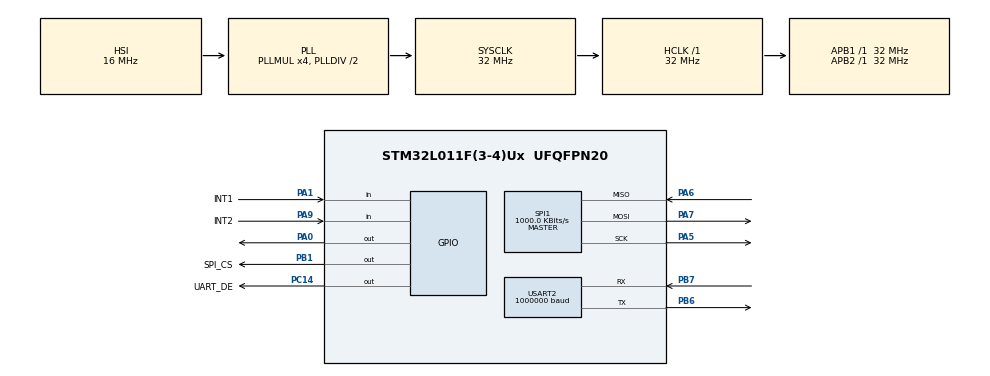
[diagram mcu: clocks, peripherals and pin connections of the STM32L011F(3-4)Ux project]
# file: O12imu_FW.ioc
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Dma.Request0=USART2_TX
Dma.USART2_TX.0.Direction=DMA_MEMORY_TO_PERIPH
Dma.USART2_TX.0.Instance=DMA1_Channel2
Dma.USART2_TX.0.MemDataAlignment=DMA_MDATAALIGN_BYTE
Dma.USART2_TX.0.MemInc=DMA_MINC_ENABLE
Dma.USART2_TX.0.Mode=DMA_NORMAL
Dma.USART2_TX.0.PeriphDataAlignment=DMA_PDATAALIGN_BYTE
Dma.USART2_TX.0.PeriphInc=DMA_PINC_DISABLE
Dma.USART2_TX.0.Priority=DMA_PRIORITY_LOW
Mcu.Family=STM32L0
Mcu.Name=STM32L011F(3-4)Ux
Mcu.Package=UFQFPN20
NVIC.DMA1_Channel2_3_IRQn=true\:0\:0\:false\:false\:true\:false\:true\:true
NVIC.SPI1_IRQn=true\:0\:0\:false\:false\:true\:true\:true\:true
NVIC.USART2_IRQn=true\:0\:0\:false\:false\:true\:true\:true\:true
PA0-CK_IN.Signal=GPIO_Output
PA1.GPIO_Label=INT1
PA1.Signal=GPIO_Input
PA13.Mode=Serial_Wire
PA13.Signal=SYS_SWDIO
PA14.Mode=Serial_Wire
PA14.Signal=SYS_SWCLK
PA5.Mode=Full_Duplex_Master
PA5.Signal=SPI1_SCK
PA6.Mode=Full_Duplex_Master
PA6.Signal=SPI1_MISO
PA7.Mode=Full_Duplex_Master
PA7.Signal=SPI1_MOSI
PA9.GPIO_Label=INT2
PA9.Signal=GPIO_Input
PB1.GPIO_Label=SPI_CS
PB1.Signal=GPIO_Output
PB6.GPIO_PuPd=GPIO_PULLUP
PB6.Mode=Asynchronous
PB6.Signal=USART2_TX
PB7.GPIO_PuPd=GPIO_PULLUP
PB7.Mode=Asynchronous
PB7.Signal=USART2_RX
PC14-OSC32_IN.GPIO_Label=UART_DE
PC14-OSC32_IN.Signal=GPIO_Output
ProjectManager.HeapSize=0x000
ProjectManager.StackSize=0x400
ProjectManager.TargetToolchain=STM32CubeIDE
RCC.ADCFreq_Value=16000000
RCC.AHBFreq_Value=32000000
RCC.APB1Freq_Value=32000000
RCC.APB1TimFreq_Value=32000000
RCC.APB2Freq_Value=32000000
RCC.APB2TimFreq_Value=32000000
RCC.HCLKFreq_Value=32000000
RCC.HSE_VALUE=8000000
RCC.HSI16_VALUE=16000000
RCC.HSI_VALUE=16000000
RCC.LSE_VALUE=32768
RCC.MSI_VALUE=2097000
RCC.PLLMUL=RCC_PLLMUL_4
RCC.SYSCLKFreq_VALUE=32000000
RCC.SYSCLKSource=RCC_SYSCLKSOURCE_PLLCLK
RCC.Usart2ClockSelection=RCC_USART2CLKSOURCE_SYSCLK
RCC.VCOOutputFreq_Value=64000000
SPI1.BaudRatePrescaler=SPI_BAUDRATEPRESCALER_32
SPI1.CLKPhase=SPI_PHASE_2EDGE
SPI1.CLKPolarity=SPI_POLARITY_HIGH
SPI1.CalculateBaudRate=1000.0 KBits/s
SPI1.Direction=SPI_DIRECTION_2LINES
SPI1.Mode=SPI_MODE_MASTER
SPI1.VirtualType=VM_MASTER
USART2.BaudRate=1000000
USART2.VirtualMode-Asynchronous=VM_ASYNC
board=custom

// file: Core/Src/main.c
/* USER CODE BEGIN Header */
/**
 ******************************************************************************
 * @file           : main.c
 * @brief          : Main program body
 ******************************************************************************
 * @attention
 *
 * Copyright (c) 2024 STMicroelectronics.
 * All rights reserved.
 *
 * This software is licensed under terms that can be found in the LICENSE file
 * in the root directory of this software component.
 * If no LICENSE file comes with this software, it is provided AS-IS.
 *
 ******************************************************************************
 */
/* USER CODE END Header */
#include "main.h"

/* USER CODE BEGIN Includes */

#include "lsm6dsv_reg.h"

#include <string.h>
#include "utils.h"
#include "comdef.h"

/* USER CODE END Includes */

/* USER CODE BEGIN PD */

#define UART_ADDR 0x6
#define UART_TX_SIZE 12
#define UART_RX_SIZE 3

// #define SENSOR_BUS hi2c1
#define SENSOR_BUS hspi1

#define BOOT_TIME 10
#define FIFO_WATERMARK 32

/* USER CODE END PD */

SPI_HandleTypeDef hspi1;

UART_HandleTypeDef huart2;
DMA_HandleTypeDef hdma_usart2_tx;

/* USER CODE BEGIN PV */

static int16_t data_raw_acceleration[3];
static int16_t data_raw_angular_rate[3];
static int16_t data_raw_temperature;
static lsm6dsv_filt_settling_mask_t filt_settling_mask;

static uint8_t whoamI;
// static uint8_t tx_buffer[1000];
static lsm6dsv_fifo_sflp_raw_t fifo_sflp;

static HAL_StatusTypeDef spi_status;

static uint16_t uart_cmd[3] = {0};
static uint8_t uart_TX[UART_TX_SIZE] = {0};
static uint8_t uart_RX[UART_RX_SIZE] = {0};
static uint8_t uart_received_flag = 0;

/* USER CODE END PV */

void SystemClock_Config(void);
static void MX_GPIO_Init(void);
static void MX_DMA_Init(void);
static void MX_USART2_UART_Init(void);
static void MX_SPI1_Init(void);
/* USER CODE BEGIN PFP */

static int32_t platform_write(void *handle, uint8_t reg, const uint8_t *bufp, uint16_t len);
static int32_t platform_read(void *handle, uint8_t reg, uint8_t *bufp, uint16_t len);
static int32_t platform_read(void *handle, uint8_t reg, uint8_t *bufp, uint16_t len);
static void tx_com(uint8_t *tx_buffer, uint16_t len);
static void platform_delay(uint32_t ms);
static void platform_init(void);

/* USER CODE END PFP */

int main(void) {

    /* MCU Configuration--------------------------------------------------------*/

    /* Reset of all peripherals, Initializes the Flash interface and the Systick. */
    HAL_Init();

    /* Configure the system clock */
    SystemClock_Config();

    /* Initialize all configured peripherals */
    MX_GPIO_Init();
    MX_DMA_Init();
    MX_USART2_UART_Init();
    MX_SPI1_Init();
    /* USER CODE BEGIN 2 */

    HAL_GPIO_WritePin(UART_DE_GPIO_Port, UART_DE_Pin, 0);
    HAL_GPIO_WritePin(SPI_CS_GPIO_Port, SPI_CS_Pin, 1); // CS high also means IMU deselected from SPI and I2c activated

    HAL_MultiProcessor_Init(&huart2, UART_ADDR, UART_WAKEUPMETHOD_ADDRESSMARK);
    HAL_MultiProcessorEx_AddressLength_Set(&huart2, UART_ADDRESS_DETECT_4B);

    HAL_MultiProcessor_EnableMuteMode(&huart2);
    HAL_MultiProcessor_EnterMuteMode(&huart2);

    HAL_UARTEx_ReceiveToIdle_IT(&huart2, uart_RX, UART_RX_SIZE);

    lsm6dsv_all_sources_t all_sources;
    lsm6dsv_reset_t rst;
    stmdev_ctx_t dev_ctx;
    /* Initialize mems driver interface */
    dev_ctx.write_reg = platform_write;
    dev_ctx.read_reg = platform_read;
    dev_ctx.mdelay = platform_delay;
    dev_ctx.handle = &SENSOR_BUS;
    /* Init test platform */
    platform_init();
    /* Wait sensor boot time */
    platform_delay(BOOT_TIME);
    /* Check device ID */

    lsm6dsv_device_id_get(&dev_ctx, &whoamI);
    while (whoamI != LSM6DSV_ID) {
        lsm6dsv_device_id_get(&dev_ctx, &whoamI);
        HAL_Delay(10);
    }

    /* Restore default configuration */
    lsm6dsv_reset_set(&dev_ctx, LSM6DSV_RESTORE_CTRL_REGS);
    do {
        lsm6dsv_reset_get(&dev_ctx, &rst);
    } while (rst != LSM6DSV_READY);

    /* Enable Block Data Update */
    lsm6dsv_block_data_update_set(&dev_ctx, PROPERTY_ENABLE);
    /* Set Output Data Rate.
     * Selected data rate have to be equal or greater with respect
     * with MLC data rate.
     */
//    lsm6dsv_xl_data_rate_set(&dev_ctx, LSM6DSV_ODR_AT_7Hz5);
    lsm6dsv_xl_data_rate_set(&dev_ctx, LSM6DSV_ODR_AT_120Hz);
//    lsm6dsv_gy_data_rate_set(&dev_ctx, LSM6DSV_ODR_AT_15Hz);
    lsm6dsv_gy_data_rate_set(&dev_ctx, LSM6DSV_ODR_AT_120Hz);
    /* Set full scale */
    lsm6dsv_xl_full_scale_set(&dev_ctx, LSM6DSV_2g);
    lsm6dsv_gy_full_scale_set(&dev_ctx, LSM6DSV_2000dps);
    /* Configure filtering chain */
    filt_settling_mask.drdy = PROPERTY_ENABLE;
    filt_settling_mask.irq_xl = PROPERTY_ENABLE;
    filt_settling_mask.irq_g = PROPERTY_ENABLE;
    lsm6dsv_filt_settling_mask_set(&dev_ctx, filt_settling_mask);
    lsm6dsv_filt_gy_lp1_set(&dev_ctx, PROPERTY_ENABLE);
    lsm6dsv_filt_gy_lp1_bandwidth_set(&dev_ctx, LSM6DSV_GY_STRONG);
//    lsm6dsv_filt_gy_lp1_bandwidth_set(&dev_ctx, LSM6DSV_GY_ULTRA_LIGHT);
    lsm6dsv_filt_xl_lp2_set(&dev_ctx, PROPERTY_ENABLE);
    lsm6dsv_filt_xl_lp2_bandwidth_set(&dev_ctx, LSM6DSV_XL_STRONG);

    /* USER CODE END 2 */

    /* Infinite loop */
    while (1) {

        /* USER CODE BEGIN 3 */
        /* Read output only if new xl value is available */
        lsm6dsv_all_sources_get(&dev_ctx, &all_sources);

        if (all_sources.drdy_xl) {
            /* Read acceleration field data */
            memset(data_raw_acceleration, 0x00, 3 * sizeof(int16_t));
            lsm6dsv_acceleration_raw_get(&dev_ctx, data_raw_acceleration);
            // HAL_GPIO_WritePin(GPIOA, GPIO_PIN_0, data_raw_acceleration[0]);
        }

        if (all_sources.drdy_gy) {
            /* Read angular rate field data */
            memset(data_raw_angular_rate, 0x00, 3 * sizeof(int16_t));
            lsm6dsv_angular_rate_raw_get(&dev_ctx, data_raw_angular_rate);
            // HAL_GPIO_WritePin(GPIOA, GPIO_PIN_0, data_raw_angular_rate[0]);
        }

        uart_TX[0] = (uint8_t)(data_raw_acceleration[0] >> (7)) & 0b01111111;
		 uart_TX[1] = (uint8_t)(data_raw_acceleration[0] >> (0)) & 0b01111111;
		 uart_TX[2] = (uint8_t)(data_raw_acceleration[1] >> (7)) & 0b01111111;
		 uart_TX[3] = (uint8_t)(data_raw_acceleration[1] >> (0)) & 0b01111111;
		 uart_TX[4] = (uint8_t)(data_raw_acceleration[2] >> (7)) & 0b01111111;
		 uart_TX[5] = (uint8_t)(data_raw_acceleration[2] >> (0)) & 0b01111111;
		 uart_TX[6] = (uint8_t)(data_raw_angular_rate[0] >> (7)) & 0b01111111;
		 uart_TX[7] = (uint8_t)(data_raw_angular_rate[0] >> (0)) & 0b01111111;
		 uart_TX[8] = (uint8_t)(data_raw_angular_rate[1] >> (7)) & 0b01111111;
		 uart_TX[9] = (uint8_t)(data_raw_angular_rate[1] >> (0)) & 0b01111111;
		 uart_TX[10] = (uint8_t)(data_raw_angular_rate[2] >> (7)) & 0b01111111;
		 uart_TX[11] = (uint8_t)(data_raw_angular_rate[2] >> (0)) & 0b01111111;

    }
    /* USER CODE END 3 */
}

void SystemClock_Config(void) {
    RCC_OscInitTypeDef RCC_OscInitStruct = {0};
    RCC_ClkInitTypeDef RCC_ClkInitStruct = {0};
    RCC_PeriphCLKInitTypeDef PeriphClkInit = {0};

    /** Configure the main internal regulator output voltage
     */
    __HAL_PWR_VOLTAGESCALING_CONFIG(PWR_REGULATOR_VOLTAGE_SCALE1);

    /** Initializes the RCC Oscillators according to the specified parameters
     * in the RCC_OscInitTypeDef structure.
     */
    RCC_OscInitStruct.OscillatorType = RCC_OSCILLATORTYPE_HSI;
    RCC_OscInitStruct.HSIState = RCC_HSI_ON;
    RCC_OscInitStruct.HSICalibrationValue = RCC_HSICALIBRATION_DEFAULT;
    RCC_OscInitStruct.PLL.PLLState = RCC_PLL_ON;
    RCC_OscInitStruct.PLL.PLLSource = RCC_PLLSOURCE_HSI;
    RCC_OscInitStruct.PLL.PLLMUL = RCC_PLLMUL_4;
    RCC_OscInitStruct.PLL.PLLDIV = RCC_PLLDIV_2;
    if (HAL_RCC_OscConfig(&RCC_OscInitStruct) != HAL_OK) {
        Error_Handler();
    }

    /** Initializes the CPU, AHB and APB buses clocks
     */
    RCC_ClkInitStruct.ClockType = RCC_CLOCKTYPE_HCLK | RCC_CLOCKTYPE_SYSCLK | RCC_CLOCKTYPE_PCLK1 | RCC_CLOCKTYPE_PCLK2;
    RCC_ClkInitStruct.SYSCLKSource = RCC_SYSCLKSOURCE_PLLCLK;
    RCC_ClkInitStruct.AHBCLKDivider = RCC_SYSCLK_DIV1;
    RCC_ClkInitStruct.APB1CLKDivider = RCC_HCLK_DIV1;
    RCC_ClkInitStruct.APB2CLKDivider = RCC_HCLK_DIV1;

    if (HAL_RCC_ClockConfig(&RCC_ClkInitStruct, FLASH_LATENCY_1) != HAL_OK) {
        Error_Handler();
    }
    PeriphClkInit.PeriphClockSelection = RCC_PERIPHCLK_USART2;
    PeriphClkInit.Usart2ClockSelection = RCC_USART2CLKSOURCE_SYSCLK;
    if (HAL_RCCEx_PeriphCLKConfig(&PeriphClkInit) != HAL_OK) {
        Error_Handler();
    }
}

static void MX_SPI1_Init(void) {

    /* SPI1 parameter configuration*/
    hspi1.Instance = SPI1;
    hspi1.Init.Mode = SPI_MODE_MASTER;
    hspi1.Init.Direction = SPI_DIRECTION_2LINES;
    hspi1.Init.DataSize = SPI_DATASIZE_8BIT;
    hspi1.Init.CLKPolarity = SPI_POLARITY_HIGH;
    hspi1.Init.CLKPhase = SPI_PHASE_2EDGE;
    hspi1.Init.NSS = SPI_NSS_SOFT;
    hspi1.Init.BaudRatePrescaler = SPI_BAUDRATEPRESCALER_8;
    hspi1.Init.FirstBit = SPI_FIRSTBIT_MSB;
    hspi1.Init.TIMode = SPI_TIMODE_DISABLE;
    hspi1.Init.CRCCalculation = SPI_CRCCALCULATION_DISABLE;
    hspi1.Init.CRCPolynomial = 7;
    if (HAL_SPI_Init(&hspi1) != HAL_OK) {
        Error_Handler();
    }
}

static void MX_USART2_UART_Init(void) {

    huart2.Instance = USART2;
    huart2.Init.BaudRate = 1000000;
    huart2.Init.WordLength = UART_WORDLENGTH_8B;
    huart2.Init.StopBits = UART_STOPBITS_1;
    huart2.Init.Parity = UART_PARITY_NONE;
    huart2.Init.Mode = UART_MODE_TX_RX;
    huart2.Init.HwFlowCtl = UART_HWCONTROL_NONE;
    huart2.Init.OverSampling = UART_OVERSAMPLING_16;
    huart2.Init.OneBitSampling = UART_ONE_BIT_SAMPLE_DISABLE;
    huart2.AdvancedInit.AdvFeatureInit = UART_ADVFEATURE_NO_INIT;
    if (HAL_UART_Init(&huart2) != HAL_OK) {
        Error_Handler();
    }
}

static void MX_DMA_Init(void) {

    /* DMA controller clock enable */
    __HAL_RCC_DMA1_CLK_ENABLE();

    /* DMA interrupt init */
    /* DMA1_Channel2_3_IRQn interrupt configuration */
    HAL_NVIC_SetPriority(DMA1_Channel2_3_IRQn, 0, 0);
    HAL_NVIC_EnableIRQ(DMA1_Channel2_3_IRQn);
}

static void MX_GPIO_Init(void) {
    GPIO_InitTypeDef GPIO_InitStruct = {0};

    /* GPIO Ports Clock Enable */
    __HAL_RCC_GPIOC_CLK_ENABLE();
    __HAL_RCC_GPIOA_CLK_ENABLE();
    __HAL_RCC_GPIOB_CLK_ENABLE();

    /*Configure GPIO pin Output Level */
    HAL_GPIO_WritePin(UART_DE_GPIO_Port, UART_DE_Pin, GPIO_PIN_RESET);

    /*Configure GPIO pin Output Level */
    HAL_GPIO_WritePin(GPIOA, GPIO_PIN_0, GPIO_PIN_RESET);

    /*Configure GPIO pin Output Level */
    HAL_GPIO_WritePin(SPI_CS_GPIO_Port, SPI_CS_Pin, GPIO_PIN_RESET);

    /*Configure GPIO pin : UART_DE_Pin */
    GPIO_InitStruct.Pin = UART_DE_Pin;
    GPIO_InitStruct.Mode = GPIO_MODE_OUTPUT_PP;
    GPIO_InitStruct.Pull = GPIO_NOPULL;
    GPIO_InitStruct.Speed = GPIO_SPEED_FREQ_LOW;
    HAL_GPIO_Init(UART_DE_GPIO_Port, &GPIO_InitStruct);

    /*Configure GPIO pin : PA0 */
    GPIO_InitStruct.Pin = GPIO_PIN_0;
    GPIO_InitStruct.Mode = GPIO_MODE_OUTPUT_PP;
    GPIO_InitStruct.Pull = GPIO_NOPULL;
    GPIO_InitStruct.Speed = GPIO_SPEED_FREQ_LOW;
    HAL_GPIO_Init(GPIOA, &GPIO_InitStruct);

    /*Configure GPIO pins : INT1_Pin INT2_Pin */
    GPIO_InitStruct.Pin = INT1_Pin | INT2_Pin;
    GPIO_InitStruct.Mode = GPIO_MODE_INPUT;
    GPIO_InitStruct.Pull = GPIO_NOPULL;
    HAL_GPIO_Init(GPIOA, &GPIO_InitStruct);

    /*Configure GPIO pin : SPI_CS_Pin */
    GPIO_InitStruct.Pin = SPI_CS_Pin;
    GPIO_InitStruct.Mode = GPIO_MODE_OUTPUT_PP;
    GPIO_InitStruct.Pull = GPIO_NOPULL;
    GPIO_InitStruct.Speed = GPIO_SPEED_FREQ_LOW;
    HAL_GPIO_Init(SPI_CS_GPIO_Port, &GPIO_InitStruct);

}

/* USER CODE BEGIN 4 */

static int32_t platform_write(void *handle, uint8_t reg, const uint8_t *bufp, uint16_t len) {
    // I2C version
    // HAL_I2C_Mem_Write(handle, LSM6DSV_I2C_ADD_L, reg, I2C_MEMADD_SIZE_8BIT, (uint8_t *)bufp, len, 1000);

    // SPI version
    HAL_GPIO_WritePin(SPI_CS_GPIO_Port, SPI_CS_Pin, 0);

    spi_status = HAL_SPI_Transmit(handle, &reg, 1, 1000);

    spi_status = HAL_SPI_Transmit(handle, (uint8_t *)bufp, len, 1000);

    HAL_GPIO_WritePin(SPI_CS_GPIO_Port, SPI_CS_Pin, 1);
    return 0;
}

/*
 * @brief  Read generic device register (platform dependent)
 *
 * @param  handle    customizable argument. In this examples is used in
 *                   order to select the correct sensor bus handler.
 * @param  reg       register to read
 * @param  bufp      pointer to buffer that store the data read
 * @param  len       number of consecutive register to read
 *
 */
static int32_t platform_read(void *handle, uint8_t reg, uint8_t *bufp, uint16_t len) {
    // I2C version
    // HAL_I2C_Mem_Read(handle, LSM6DSV_I2C_ADD_L, reg, I2C_MEMADD_SIZE_8BIT, bufp, len, 1000);

    // SPI version
    reg |= 0x80;
    HAL_GPIO_WritePin(SPI_CS_GPIO_Port, SPI_CS_Pin, GPIO_PIN_RESET);
    spi_status = HAL_SPI_Transmit(handle, &reg, 1, 1000);

    spi_status = HAL_SPI_Receive(handle, bufp, len, 1000);
    HAL_GPIO_WritePin(SPI_CS_GPIO_Port, SPI_CS_Pin, GPIO_PIN_SET);

    return 0;
}

/*
 * @brief  Send buffer to console (platform dependent)
 *
 * @param  tx_buffer     buffer to transmit
 * @param  len           number of byte to send
 *
 */
static void tx_com(uint8_t *tx_buffer, uint16_t len) {
    // TODO
}

/*
 * @brief  platform specific delay (platform dependent)
 *
 * @param  ms        delay in ms
 *
 */
static void platform_delay(uint32_t ms) {
    HAL_Delay(ms);
}

static void platform_init() {
    HAL_Delay(100);
}

void HAL_UARTEx_RxEventCallback(UART_HandleTypeDef *huart, uint16_t Size) {
    uart_received_flag = 1;

    if (uart_received_flag) { //was in main loop before
		uart_received_flag = 0;

		uart_cmd[0] = uart_RX[0] & CMD_MASK;
		uart_cmd[1] = (uart_RX[1] << 7) | (uart_RX[2]);
		uart_cmd[1] = pad14(uart_cmd[1]);

		if (uart_cmd[0] == CMD_GET_POSITION) {

			HAL_GPIO_WritePin(UART_DE_GPIO_Port, UART_DE_Pin, 1); // enable TX
			HAL_UART_Transmit_DMA(&huart2, uart_TX, 12);
		}else{
			HAL_GPIO_WritePin(UART_DE_GPIO_Port, UART_DE_Pin, 0); // set RX
			HAL_UARTEx_ReceiveToIdle_IT(&huart2, uart_RX, UART_RX_SIZE);
		}

		HAL_GPIO_WritePin(GPIOA, GPIO_PIN_0, 0);
	}else{
		HAL_GPIO_WritePin(GPIOA, GPIO_PIN_0, 1);
	}
}

void HAL_UART_TxCpltCallback(UART_HandleTypeDef *huart) {
    HAL_GPIO_WritePin(UART_DE_GPIO_Port, UART_DE_Pin, 0); // set RX
    HAL_UARTEx_ReceiveToIdle_IT(&huart2, uart_RX, UART_RX_SIZE);
}

void HAL_UART_ErrorCallback(UART_HandleTypeDef *huart) { // shouldn't happen but just in case of overrun, restart RX
    // clear the uart buffer
    uint8_t temp_buffer[20];
    while (__HAL_UART_GET_FLAG(&huart2, UART_FLAG_RXNE)) {
        HAL_UART_Receive(&huart2, temp_buffer, 1, 1);
    }

    HAL_GPIO_WritePin(UART_DE_GPIO_Port, UART_DE_Pin, 0); // set RX
    HAL_UARTEx_ReceiveToIdle_IT(&huart2, uart_RX, UART_RX_SIZE);
}

/* USER CODE END 4 */

void Error_Handler(void) {
    __disable_irq();
    while (1) {
    }
}
